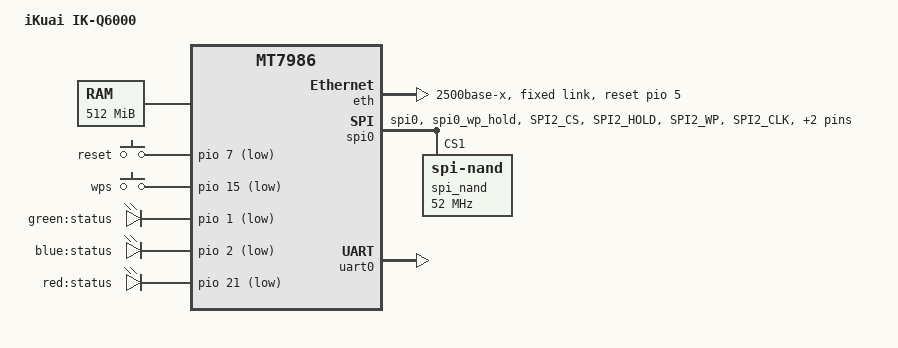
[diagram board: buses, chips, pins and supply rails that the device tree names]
// SPDX-License-Identifier: (GPL-2.0-only OR MIT)

/dts-v1/;
#include "mt7986.dtsi"
#include <dt-bindings/gpio/gpio.h>
#include <dt-bindings/input/linux-event-codes.h>

/ {
	#address-cells = <1>;
	#size-cells = <1>;

	model = "iKuai IK-Q6000";
	compatible = "ikuai,q6000", "mediatek,mt7986", "mediatek,mt7986-rfb";

	chosen {
		stdout-path = &uart0;
		tick-timer = &timer0;
	};

	config {
		bootcmd = "mtkboardboot";
		blink_led = "red:status";
		system_led = "green:status";
	};

	memory@40000000 {
		device_type = "memory";
		reg = <0x40000000 0x20000000>;
	};

	gpio-keys {
		compatible = "gpio-keys";

		reset-button {
			label = "reset";
			linux,code = <KEY_RESTART>;
			gpios = <&pio 7 GPIO_ACTIVE_LOW>;
		};

		wps-button {
			label = "wps";
			linux,code = <KEY_WPS_BUTTON>;
			gpios = <&pio 15 GPIO_ACTIVE_LOW>;
		};
	};

	gpio-leds {
		compatible = "gpio-leds";

		green_led: led-0 {
			label = "green:status";
			gpios = <&pio 1 GPIO_ACTIVE_LOW>;
		};

		blue_led: led-1 {
			label = "blue:status";
			gpios = <&pio 2 GPIO_ACTIVE_LOW>;
		};

		red_led: led-2 {
			label = "red:status";
			gpios = <&pio 21 GPIO_ACTIVE_LOW>;
		};
	};

	bl2_verify {
		bl2_compatible = "spim-nand";
	};
};

&eth {
	status = "okay";
	mediatek,gmac-id = <0>;
	phy-mode = "2500base-x";
	mediatek,switch = "mt7531";
	reset-gpios = <&pio 5 GPIO_ACTIVE_HIGH>;

	fixed-link {
		speed = <2500>;
		full-duplex;
	};
};

&pio {
	spi_flash_pins: spi0-pins-func-1 {
		mux {
			function = "flash";
			groups = "spi0", "spi0_wp_hold";
		};

		conf-pu {
			pins = "SPI2_CS", "SPI2_HOLD", "SPI2_WP";
			drive-strength = <MTK_DRIVE_8mA>;
			bias-pull-up = <MTK_PUPD_SET_R1R0_00>;
		};

		conf-pd {
			pins = "SPI2_CLK", "SPI2_MOSI", "SPI2_MISO";
			drive-strength = <MTK_DRIVE_8mA>;
			bias-pull-down = <MTK_PUPD_SET_R1R0_00>;
		};
	};
};

&spi0 {
	#address-cells = <1>;
	#size-cells = <0>;
	pinctrl-names = "default";
	pinctrl-0 = <&spi_flash_pins>;
	status = "okay";
	must_tx;
	enhance_timing;
	dma_ext;
	ipm_design;
	support_quad;
	tick_dly = <2>;
	sample_sel = <0>;

	spi_nand@1 {
		compatible = "spi-nand";
		reg = <1>;
		spi-max-frequency = <52000000>;
	};
};

&uart0 {
	status = "okay";
};

&watchdog {
	status = "disabled";
};
